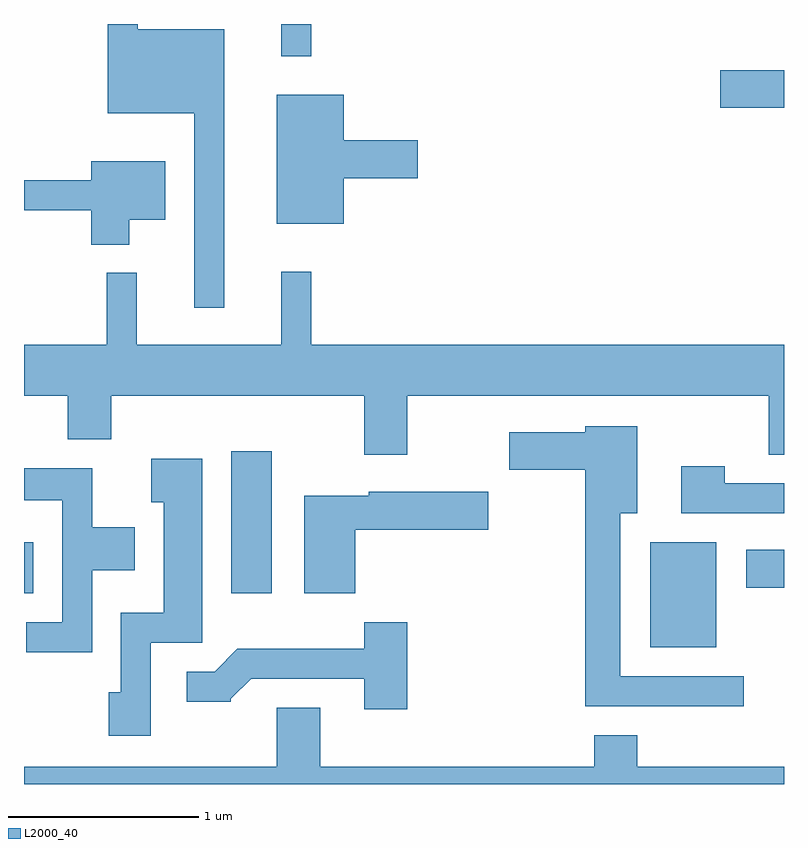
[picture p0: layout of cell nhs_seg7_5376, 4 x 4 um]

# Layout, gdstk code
import gdstk
lib = gdstk.Library(unit=1e-6, precision=1e-09)
def R(c, l, rs):  # rectangles x0, y0, x1, y1
    for r in rs: c.add(gdstk.rectangle(r[:2], r[2:], *l))
def P(c, l, *ps):  # polygons
    for p in ps: c.add(gdstk.Polygon(p, *l))
L2000_40 = (2000, 40)

nhs_seg7_5376 = lib.new_cell('nhs_seg7_5376')
R(nhs_seg7_5376, L2000_40, [(352.906,1732.971,353.254,1733.524), (349.611,1733.256,349.659,1733.524), (350.701,1733.256,350.914,1734.004), (353.411,1733.286,353.611,1733.484), (353.276,1735.811,353.611,1736.009), (350.966,1736.083,351.124,1736.252)])
P(nhs_seg7_5376, L2000_40, [(350.664,1736.224),(350.209,1736.224),(350.209,1736.252),(350.051,1736.252),(350.051,1735.781),(350.506,1735.781),(350.506,1734.758),(350.664,1734.758)],
  [(351.294,1735.441),(351.684,1735.441),(351.684,1735.639),(351.294,1735.639),(351.294,1735.879),(350.941,1735.879),(350.941,1735.201),(351.294,1735.201)],
  [(350.164,1735.221),(350.354,1735.221),(350.354,1735.529),(349.966,1735.529),(349.966,1735.429),(349.611,1735.429),(349.611,1735.271),(349.966,1735.271),(349.966,1735.091),(350.164,1735.091)],
  [(351.629,1734.296),(353.531,1734.296),(353.531,1733.986),(353.611,1733.986),(353.611,1734.564),(351.124,1734.564),(351.124,1734.948),(350.966,1734.948),(350.966,1734.564),(350.204,1734.564),(350.204,1734.943),(350.046,1734.943),(350.046,1734.564),(349.611,1734.564),(349.611,1734.296),(349.841,1734.296),(349.841,1734.066),(350.069,1734.066),(350.069,1734.296),(351.401,1734.296),(351.401,1733.986),(351.629,1733.986)],
  [(353.398,1732.819),(352.749,1732.819),(352.749,1733.676),(352.839,1733.676),(352.839,1734.134),(352.566,1734.134),(352.566,1734.104),(352.166,1734.104),(352.166,1733.906),(352.566,1733.906),(352.566,1732.661),(353.398,1732.661)],
  [(350.279,1732.996),(350.549,1732.996),(350.549,1733.964),(350.281,1733.964),(350.281,1733.736),(350.346,1733.736),(350.346,1733.154),(350.121,1733.154),(350.121,1732.734),(350.056,1732.734),(350.056,1732.506),(350.279,1732.506)],
  [(353.611,1733.834),(353.299,1733.834),(353.299,1733.924),(353.071,1733.924),(353.071,1733.676),(353.611,1733.676)],
  [(349.969,1733.376),(350.194,1733.376),(350.194,1733.604),(349.969,1733.604),(349.969,1733.914),(349.611,1733.914),(349.611,1733.746),(349.811,1733.746),(349.811,1733.104),(349.623,1733.104),(349.623,1732.946),(349.969,1732.946)],
  [(351.354,1733.591),(352.054,1733.591),(352.054,1733.789),(351.426,1733.789),(351.426,1733.769),(351.086,1733.769),(351.086,1733.256),(351.354,1733.256)],
  [(351.629,1733.104),(351.401,1733.104),(351.401,1732.964),(350.734,1732.964),(350.614,1732.844),(350.468,1732.844),(350.468,1732.686),(350.7,1732.686),(350.7,1732.7),(350.807,1732.806),(351.401,1732.806),(351.401,1732.646),(351.629,1732.646)],
  [(353.611,1732.344),(352.839,1732.344),(352.839,1732.509),(352.611,1732.509),(352.611,1732.344),(351.169,1732.344),(351.169,1732.654),(350.941,1732.654),(350.941,1732.344),(349.611,1732.344),(349.611,1732.252),(353.611,1732.252)])

lib.write_gds('nhs_seg7_5376.gds')
